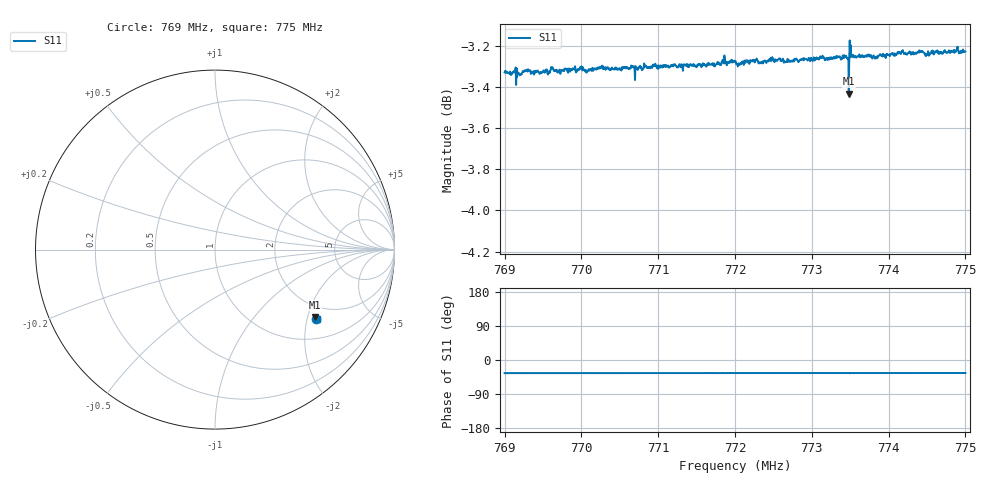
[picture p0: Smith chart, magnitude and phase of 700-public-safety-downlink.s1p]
! Calibrated averaged scanner-service zoom
# Hz S RI R 50
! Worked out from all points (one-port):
!   1001 points, 769 MHz to 775 MHz, reference 50 ohm
!   lowest |S11| = -3.4 dB at 773.482 MHz (marker M1), VSWR 5.13, Z = 81.3 - j112 ohm
!   |S11| at or under -10 dB: nowhere
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7.69e8  0.5607 -0.3876
7.69192e8  0.5598 -0.3875
7.69456e8  0.5608 -0.3865
7.696e8  0.5618 -0.3877
7.6975e8  0.5613 -0.3877
7.69888e8  0.5628 -0.3874
7.69984e8  0.5628 -0.3881
7.70068e8  0.5615 -0.3863
7.70248e8  0.563 -0.3879
7.705e8  0.5627 -0.3876
7.7125e8  0.5635 -0.3876
7.72e8  0.5659 -0.3879
7.7206e8  0.5647 -0.3872
7.7227e8  0.5663 -0.3879
7.7275e8  0.5659 -0.3873
7.73344e8  0.5673 -0.3883
7.73428e8  0.5676 -0.3886
7.73458e8  0.5674 -0.3873
7.73482e8  0.5588 -0.376
7.735e8  0.5672 -0.3883
7.73524e8  0.5671 -0.3889
7.73542e8  0.5674 -0.3891
7.73812e8  0.5677 -0.3876
7.7425e8  0.5686 -0.3887
7.74514e8  0.5695 -0.3892
7.74604e8  0.5695 -0.389
7.7488e8  0.5699 -0.3886
7.75e8  0.5695 -0.389
